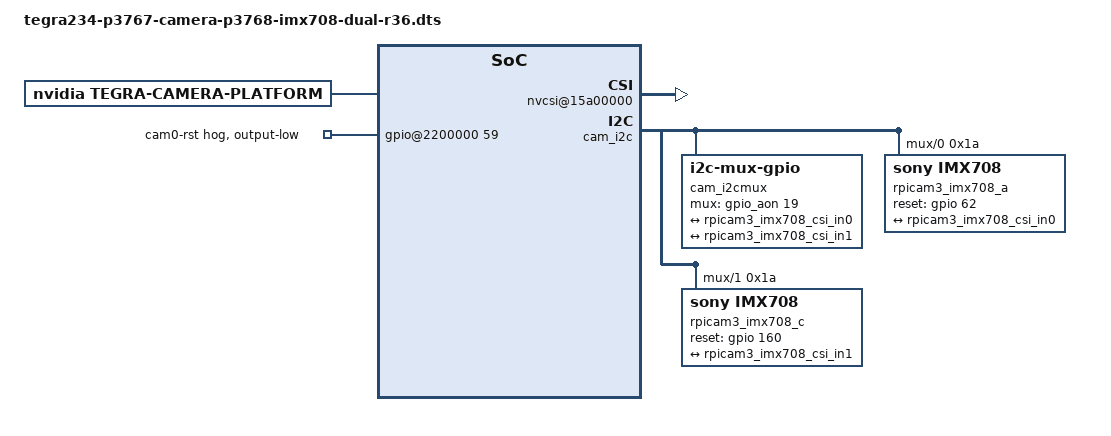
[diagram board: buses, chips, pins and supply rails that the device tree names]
// SPDX-License-Identifier: GPL-2.0-only
// SPDX-FileCopyrightText: Copyright (c) 2023-2024, NVIDIA CORPORATION & AFFILIATES. All rights reserved.
// SPDX-FileCopyrightText: Copyright (c) 2026, PerytonSpace / ARCh_Software_2027
/*
 * Dual-CSI Device Tree Overlay for Sony IMX708 (Raspberry Pi Camera Module 3 / 3 Wide)
 * on Official NVIDIA Jetson Orin Nano Developer Kit (p3768-0000 + p3767-000x).
 *
 * Target: JetPack 6.x (L4T R36.x, Linux 5.15) and JetPack 7.x (L4T R38.x)
 *
 * Hardware mapping on official p3768-0000 carrier board:
 *   CAM0 (J20, i2c@0 via cam_i2cmux):
 *     - CSI interface : CSI-B ("serial_b"), port-index = <1>, 2 data lanes
 *     - Lane polarity : "6" (CSI0_D1 & CSI1_D0 polarity swap on p3768 carrier)
 *     - I2C address   : 0x1a (IMX708 sensor); 0x0c (DW9807V VCM autofocus)
 *     - Reset GPIO    : CAM0_PWDN = TEGRA234_MAIN_GPIO(H, 6) = 62 (0x3e), ACTIVE_HIGH
 *     - Video node    : /dev/video0
 *
 *   CAM1 (J21, i2c@1 via cam_i2cmux):
 *     - CSI interface : CSI-C ("serial_c"), port-index = <2>, 2 data lanes
 *     - Lane polarity : "0" (no lane swap on CSI-C)
 *     - I2C address   : 0x1a (IMX708 sensor); 0x0c (DW9807V VCM autofocus)
 *     - Reset GPIO    : CAM1_PWDN = TEGRA234_MAIN_GPIO(AC, 0) = 160 (0xa0), ACTIVE_HIGH
 *     - Video node    : /dev/video1
 *
 *   I2C mux GPIO:
 *     - CAM_I2C_MUX   : TEGRA234_AON_GPIO(CC, 3) = 19 (0x13), ACTIVE_HIGH
 *   Unused CAM0_RST hog:
 *     - CAM0_RST      : TEGRA234_MAIN_GPIO(H, 3) = 59 (0x3b), output-low
 *
 * Self-contained DTS (no external dt-bindings headers required):
 *   dtc -@ -I dts -O dtb -Wno-unit_address_vs_reg \
 *       -o tegra234-p3767-camera-p3768-imx708-dual-r36.dtbo \
 *       dts/tegra234-p3767-camera-p3768-imx708-dual-r36.dts
 */

/dts-v1/;
/plugin/;

/ {
	overlay-name = "Camera IMX708 Dual (Pi Camera Module 3 Wide)";
	jetson-header-name = "Jetson 24pin CSI Connector";
	compatible = "nvidia,p3768-0000+p3767-0000",
		     "nvidia,p3768-0000+p3767-0001",
		     "nvidia,p3768-0000+p3767-0003",
		     "nvidia,p3768-0000+p3767-0004",
		     "nvidia,p3768-0000+p3767-0005",
		     "nvidia,p3768-0000+p3767-0000-super",
		     "nvidia,p3768-0000+p3767-0001-super",
		     "nvidia,p3768-0000+p3767-0003-super",
		     "nvidia,p3768-0000+p3767-0004-super",
		     "nvidia,p3768-0000+p3767-0005-super";

	fragment@0 {
		target-path = "/";
		__overlay__ {
			tegra-capture-vi {
				status = "okay";
				num-channels = <2>;
				ports {
					#address-cells = <1>;
					#size-cells = <0>;
					port@0 {
						reg = <0>;
						status = "okay";
						rpicam3_imx708_vi_in0: endpoint {
							status = "okay";
							port-index = <1>;
							bus-width = <2>;
							remote-endpoint = <&rpicam3_imx708_csi_out0>;
						};
					};
					port@1 {
						reg = <1>;
						status = "okay";
						rpicam3_imx708_vi_in1: endpoint {
							status = "okay";
							port-index = <2>;
							bus-width = <2>;
							remote-endpoint = <&rpicam3_imx708_csi_out1>;
						};
					};
				};
			};

			tegra-camera-platform {
				compatible = "nvidia, tegra-camera-platform";
				num_csi_lanes = <4>;
				max_lane_speed = <1500000>;
				min_bits_per_pixel = <10>;
				vi_peak_byte_per_pixel = <2>;
				vi_bw_margin_pct = <25>;
				max_pixel_rate = <7500000>;
				isp_peak_byte_per_pixel = <5>;
				isp_bw_margin_pct = <25>;

				modules {
					module0 {
						status = "okay";
						badge = "jakku_front_SC0872";
						position = "front";
						orientation = "1";
						drivernode0 {
							status = "okay";
							pcl_id = "v4l2_sensor";
							sysfs-device-tree = "/sys/firmware/devicetree/base/bus@0/cam_i2cmux/i2c@0/rpicam3_imx708_a@1a";
						};
					};
					module1 {
						status = "okay";
						badge = "jakku_rear_SC0872";
						position = "rear";
						orientation = "1";
						drivernode0 {
							status = "okay";
							pcl_id = "v4l2_sensor";
							sysfs-device-tree = "/sys/firmware/devicetree/base/bus@0/cam_i2cmux/i2c@1/rpicam3_imx708_c@1a";
						};
					};
				};
			};

			bus@0 {
				host1x@13e00000 {
					nvcsi@15a00000 {
						status = "okay";
						num-channels = <2>;
						#address-cells = <1>;
						#size-cells = <0>;
						channel@0 {
							reg = <0>;
							status = "okay";
							ports {
								#address-cells = <1>;
								#size-cells = <0>;
								port@0 {
									reg = <0>;
									status = "okay";
									rpicam3_imx708_csi_in0: endpoint@0 {
										status = "okay";
										port-index = <1>;
										bus-width = <2>;
										remote-endpoint = <&rpicam3_imx708_out0>;
									};
								};
								port@1 {
									reg = <1>;
									status = "okay";
									rpicam3_imx708_csi_out0: endpoint@1 {
										status = "okay";
										remote-endpoint = <&rpicam3_imx708_vi_in0>;
									};
								};
							};
						};
						channel@1 {
							reg = <1>;
							status = "okay";
							ports {
								#address-cells = <1>;
								#size-cells = <0>;
								port@0 {
									reg = <0>;
									status = "okay";
									rpicam3_imx708_csi_in1: endpoint@2 {
										status = "okay";
										port-index = <2>;
										bus-width = <2>;
										remote-endpoint = <&rpicam3_imx708_out1>;
									};
								};
								port@1 {
									reg = <1>;
									status = "okay";
									rpicam3_imx708_csi_out1: endpoint@3 {
										status = "okay";
										remote-endpoint = <&rpicam3_imx708_vi_in1>;
									};
								};
							};
						};
					};
				};

				cam_i2cmux {
					status = "okay";
					compatible = "i2c-mux-gpio";
					#address-cells = <1>;
					#size-cells = <0>;
					/* CAM_I2C_MUX = TEGRA234_AON_GPIO(CC, 3) = 19, GPIO_ACTIVE_HIGH = 0 */
					mux-gpios = <&gpio_aon 19 0>;
					i2c-parent = <&cam_i2c>;

					/* CAM0 (J20, CSI-B / serial_b, port-index 1, lane_polarity 6) */
					i2c@0 {
						status = "okay";
						reg = <0>;
						#address-cells = <1>;
						#size-cells = <0>;

						rbpcv2_imx219_a@10 {
							status = "disabled";
						};

						rpicam3_imx708_a@1a {
							status = "okay";
							compatible = "sony,imx708";
							reg = <0x1a>;
							/* CAM0_PWDN = TEGRA234_MAIN_GPIO(H, 6) = 62, GPIO_ACTIVE_HIGH = 0 */
							reset-gpios = <&gpio 62 0>;
							devnode = "video0";
							physical_w = "6.451";
							physical_h = "3.629";
							sensor_model = "imx708";
							use_sensor_mode_id = "true";

							/* Mode 0: 4608x2592 @ 2..14 fps (Full 12MP Wide FOV) */
							mode0 {
								mclk_khz = "24000";
								num_lanes = "2";
								tegra_sinterface = "serial_b";
								phy_mode = "DPHY";
								discontinuous_clk = "no";
								dpcm_enable = "false";
								cil_settletime = "0";
								lane_polarity = "6";

								active_w = "4608";
								active_h = "2592";
								mode_type = "bayer";
								pixel_phase = "rggb";
								csi_pixel_bit_depth = "10";
								readout_orientation = "90";
								line_length = "4732";
								inherent_gain = "1";
								mclk_multiplier = "7.5";
								pix_clk_hz = "180000000";

								gain_factor = "16";
								framerate_factor = "1000000";
								exposure_factor = "1000000";
								min_gain_val = "18";
								max_gain_val = "256";
								step_gain_val = "1";
								default_gain = "18";
								min_hdr_ratio = "1";
								max_hdr_ratio = "1";
								min_framerate = "2000000";
								max_framerate = "14000000";
								step_framerate = "1";
								default_framerate = "14000000";
								min_exp_time = "210";
								max_exp_time = "498000";
								step_exp_time = "1";
								default_exp_time = "16000";
								embedded_metadata_height = "4";
							};

							/* Mode 1: 2304x1296 @ 2..56 fps (2x2 binned, Full Wide FOV) */
							mode1 {
								mclk_khz = "24000";
								num_lanes = "2";
								tegra_sinterface = "serial_b";
								phy_mode = "DPHY";
								discontinuous_clk = "no";
								dpcm_enable = "false";
								cil_settletime = "0";
								lane_polarity = "6";

								active_w = "2304";
								active_h = "1296";
								mode_type = "bayer";
								pixel_phase = "rggb";
								csi_pixel_bit_depth = "10";
								readout_orientation = "90";
								line_length = "2405";
								inherent_gain = "1";
								mclk_multiplier = "7.5";
								pix_clk_hz = "180000000";

								gain_factor = "16";
								framerate_factor = "1000000";
								exposure_factor = "1000000";
								min_gain_val = "18";
								max_gain_val = "256";
								step_gain_val = "1";
								default_gain = "18";
								min_hdr_ratio = "1";
								max_hdr_ratio = "1";
								min_framerate = "2000000";
								max_framerate = "56000000";
								step_framerate = "1";
								default_framerate = "56000000";
								min_exp_time = "54";
								max_exp_time = "498000";
								step_exp_time = "1";
								default_exp_time = "10000";
								embedded_metadata_height = "4";
							};

							/* Mode 2: 1536x864 @ 2..120 fps (2x2 binned, center cropped) */
							mode2 {
								mclk_khz = "24000";
								num_lanes = "2";
								tegra_sinterface = "serial_b";
								phy_mode = "DPHY";
								discontinuous_clk = "no";
								dpcm_enable = "false";
								cil_settletime = "0";
								lane_polarity = "6";

								active_w = "1536";
								active_h = "864";
								mode_type = "bayer";
								pixel_phase = "rggb";
								csi_pixel_bit_depth = "10";
								readout_orientation = "90";
								line_length = "1658";
								inherent_gain = "1";
								mclk_multiplier = "7.5";
								pix_clk_hz = "180000000";

								gain_factor = "16";
								framerate_factor = "1000000";
								exposure_factor = "1000000";
								min_gain_val = "18";
								max_gain_val = "256";
								step_gain_val = "1";
								default_gain = "18";
								min_hdr_ratio = "1";
								max_hdr_ratio = "1";
								min_framerate = "2000000";
								max_framerate = "120000000";
								step_framerate = "1";
								default_framerate = "120000000";
								min_exp_time = "37";
								max_exp_time = "498000";
								step_exp_time = "1";
								default_exp_time = "5000";
								embedded_metadata_height = "4";
							};

							ports {
								#address-cells = <1>;
								#size-cells = <0>;
								port@0 {
									reg = <0>;
									rpicam3_imx708_out0: endpoint {
										status = "okay";
										port-index = <1>;
										bus-width = <2>;
										remote-endpoint = <&rpicam3_imx708_csi_in0>;
									};
								};
							};
						};
					};

					/* CAM1 (J21, CSI-C / serial_c, port-index 2, lane_polarity 0) */
					i2c@1 {
						status = "okay";
						reg = <1>;
						#address-cells = <1>;
						#size-cells = <0>;

						rbpcv2_imx219_c@10 {
							status = "disabled";
						};

						rpicam3_imx708_c@1a {
							status = "okay";
							compatible = "sony,imx708";
							reg = <0x1a>;
							/* CAM1_PWDN = TEGRA234_MAIN_GPIO(AC, 0) = 160, GPIO_ACTIVE_HIGH = 0 */
							reset-gpios = <&gpio 160 0>;
							devnode = "video1";
							physical_w = "6.451";
							physical_h = "3.629";
							sensor_model = "imx708";
							use_sensor_mode_id = "true";

							/* Mode 0: 4608x2592 @ 2..14 fps (Full 12MP Wide FOV) */
							mode0 {
								mclk_khz = "24000";
								num_lanes = "2";
								tegra_sinterface = "serial_c";
								phy_mode = "DPHY";
								discontinuous_clk = "no";
								dpcm_enable = "false";
								cil_settletime = "0";
								lane_polarity = "0";

								active_w = "4608";
								active_h = "2592";
								mode_type = "bayer";
								pixel_phase = "rggb";
								csi_pixel_bit_depth = "10";
								readout_orientation = "90";
								line_length = "4732";
								inherent_gain = "1";
								mclk_multiplier = "7.5";
								pix_clk_hz = "180000000";

								gain_factor = "16";
								framerate_factor = "1000000";
								exposure_factor = "1000000";
								min_gain_val = "18";
								max_gain_val = "256";
								step_gain_val = "1";
								default_gain = "18";
								min_hdr_ratio = "1";
								max_hdr_ratio = "1";
								min_framerate = "2000000";
								max_framerate = "14000000";
								step_framerate = "1";
								default_framerate = "14000000";
								min_exp_time = "210";
								max_exp_time = "498000";
								step_exp_time = "1";
								default_exp_time = "16000";
								embedded_metadata_height = "4";
							};

							/* Mode 1: 2304x1296 @ 2..56 fps (2x2 binned, Full Wide FOV) */
							mode1 {
								mclk_khz = "24000";
								num_lanes = "2";
								tegra_sinterface = "serial_c";
								phy_mode = "DPHY";
								discontinuous_clk = "no";
								dpcm_enable = "false";
								cil_settletime = "0";
								lane_polarity = "0";

								active_w = "2304";
								active_h = "1296";
								mode_type = "bayer";
								pixel_phase = "rggb";
								csi_pixel_bit_depth = "10";
								readout_orientation = "90";
								line_length = "2405";
								inherent_gain = "1";
								mclk_multiplier = "7.5";
								pix_clk_hz = "180000000";

								gain_factor = "16";
								framerate_factor = "1000000";
								exposure_factor = "1000000";
								min_gain_val = "18";
								max_gain_val = "256";
								step_gain_val = "1";
								default_gain = "18";
								min_hdr_ratio = "1";
								max_hdr_ratio = "1";
								min_framerate = "2000000";
								max_framerate = "56000000";
								step_framerate = "1";
								default_framerate = "56000000";
								min_exp_time = "54";
								max_exp_time = "498000";
								step_exp_time = "1";
								default_exp_time = "10000";
								embedded_metadata_height = "4";
							};

							/* Mode 2: 1536x864 @ 2..120 fps (2x2 binned, center cropped) */
							mode2 {
								mclk_khz = "24000";
								num_lanes = "2";
								tegra_sinterface = "serial_c";
								phy_mode = "DPHY";
								discontinuous_clk = "no";
								dpcm_enable = "false";
								cil_settletime = "0";
								lane_polarity = "0";

								active_w = "1536";
								active_h = "864";
								mode_type = "bayer";
								pixel_phase = "rggb";
								csi_pixel_bit_depth = "10";
								readout_orientation = "90";
								line_length = "1658";
								inherent_gain = "1";
								mclk_multiplier = "7.5";
								pix_clk_hz = "180000000";

								gain_factor = "16";
								framerate_factor = "1000000";
								exposure_factor = "1000000";
								min_gain_val = "18";
								max_gain_val = "256";
								step_gain_val = "1";
								default_gain = "18";
								min_hdr_ratio = "1";
								max_hdr_ratio = "1";
								min_framerate = "2000000";
								max_framerate = "120000000";
								step_framerate = "1";
								default_framerate = "120000000";
								min_exp_time = "37";
								max_exp_time = "498000";
								step_exp_time = "1";
								default_exp_time = "5000";
								embedded_metadata_height = "4";
							};

							ports {
								#address-cells = <1>;
								#size-cells = <0>;
								port@0 {
									reg = <0>;
									rpicam3_imx708_out1: endpoint {
										status = "okay";
										port-index = <2>;
										bus-width = <2>;
										remote-endpoint = <&rpicam3_imx708_csi_in1>;
									};
								};
							};
						};
					};
				};

				gpio@2200000 {
					camera-control-output-low {
						gpio-hog;
						output-low;
						/* CAM0_RST = TEGRA234_MAIN_GPIO(H, 3) = 59 */
						gpios = <59 0>;
						label = "cam0-rst";
					};
				};
			};
		};
	};
};
